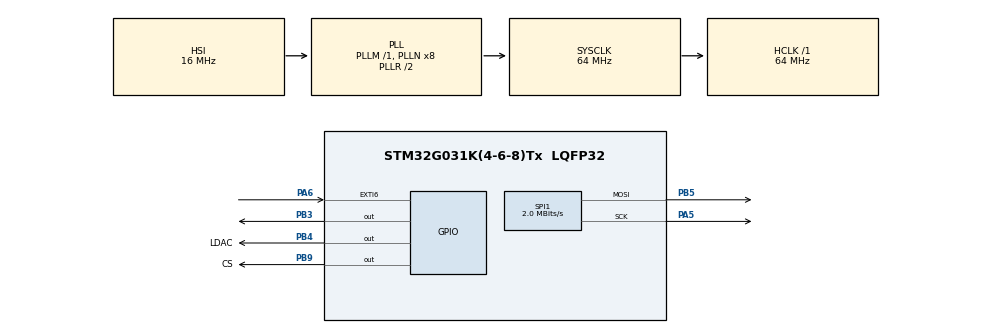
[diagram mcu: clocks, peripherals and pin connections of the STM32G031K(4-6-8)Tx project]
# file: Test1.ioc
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Mcu.Family=STM32G0
Mcu.Name=STM32G031K(4-6-8)Tx
Mcu.Package=LQFP32
NVIC.EXTI4_15_IRQn=true\:0\:0\:false\:false\:true\:true\:true\:true
NVIC.TIM14_IRQn=true\:0\:0\:false\:false\:true\:true\:true\:true
PA13.GPIO_Label=T_JTMS
PA13.Mode=Serial_Wire
PA13.Signal=SYS_SWDIO
PA14-BOOT0.GPIO_Label=T_JTCK
PA14-BOOT0.Mode=Serial_Wire
PA14-BOOT0.Signal=SYS_SWCLK
PA2.GPIO_Label=T_VCP_TX
PA2.GPIO_PuPd=GPIO_PULLUP
PA2.Signal=USART2_TX
PA3.GPIO_Label=T_VCP_RX
PA3.GPIO_PuPd=GPIO_PULLUP
PA3.Signal=USART2_RX
PA5.Mode=TX_Only_Simplex_Unidirect_Master
PA5.Signal=SPI1_SCK
PA6.GPIO_ModeDefaultEXTI=GPIO_MODE_IT_FALLING
PA6.GPIO_PuPd=GPIO_PULLDOWN
PA6.Signal=GPXTI6
PB3.Signal=GPIO_Output
PB4.GPIO_Label=LDAC
PB4.Signal=GPIO_Output
PB5.Mode=TX_Only_Simplex_Unidirect_Master
PB5.Signal=SPI1_MOSI
PB9.GPIO_Label=CS
PB9.Signal=GPIO_Output
ProjectManager.HeapSize=0x200
ProjectManager.StackSize=0x400
ProjectManager.TargetToolchain=STM32CubeIDE
RCC.ADCFreq_Value=64000000
RCC.AHBFreq_Value=64000000
RCC.APB1CLKDivider=RCC_HCLK_DIV2
RCC.CortexFreq_Value=64000000
RCC.EXTERNAL_CLOCK_VALUE=12288000
RCC.HCLKFreq_Value=64000000
RCC.HSE_VALUE=8000000
RCC.HSI_VALUE=16000000
RCC.SYSCLKFreq_VALUE=64000000
RCC.SYSCLKSource=RCC_SYSCLKSOURCE_PLLCLK
RCC.VCOOutputFreq_Value=128000000
SPI1.BaudRatePrescaler=SPI_BAUDRATEPRESCALER_16
SPI1.CalculateBaudRate=2.0 MBits/s
SPI1.DataSize=SPI_DATASIZE_16BIT
SPI1.Direction=SPI_DIRECTION_2LINES
SPI1.Mode=SPI_MODE_MASTER
SPI1.VirtualType=VM_MASTER
TIM14.Period=200
TIM14.Prescaler=8
VP_TIM14_VS_ClockSourceINT.Mode=Enable_Timer
board=NUCLEO-G031K8

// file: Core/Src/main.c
/* USER CODE BEGIN Header */
/**
  ******************************************************************************
  * @file           : main.c
  * @brief          : Main program body
  ******************************************************************************
  * @attention
  *
  * Copyright (c) 2024 STMicroelectronics.
  * All rights reserved.
  *
  * This software is licensed under terms that can be found in the LICENSE file
  * in the root directory of this software component.
  * If no LICENSE file comes with this software, it is provided AS-IS.
  *
  ******************************************************************************
  */
/* USER CODE END Header */
#include "main.h"
#include <math.h>

/* USER CODE BEGIN PD */
#define MCP4901_BUFFER    (1 << 14)
#define MCP4901_GAIN2X    (1 << 13)
#define MCP4901_ACTIVE    (1 << 12)
#define PI 3.14159265
#define TABLE_SIZE 20
/* USER CODE END PD */

SPI_HandleTypeDef hspi1;

TIM_HandleTypeDef htim14;

/* USER CODE BEGIN PV */
uint8_t sine_table[TABLE_SIZE];
/* USER CODE END PV */

void SystemClock_Config(void);
static void MX_GPIO_Init(void);
static void MX_SPI1_Init(void);
static void MX_TIM14_Init(void);
/* USER CODE BEGIN PFP */
void DAC_SetValue(uint8_t value);
void GenerateSineTable();
/* USER CODE END PFP */

/* USER CODE BEGIN 0 */
void GenerateSineTable() {
    for(int i = 0; i < TABLE_SIZE; i++) {
        sine_table[i] = (uint8_t)((sin(2 * PI * i / TABLE_SIZE) + 1) * 127.5); // Scale to 0-255
    }
}

void DAC_SetValue(uint8_t value) {
    uint16_t data = 0;
    data |= MCP4901_BUFFER;
    data |= MCP4901_GAIN2X;
    data |= MCP4901_ACTIVE;
    data |= (value << 4); // Place 8-bit data in bits 11-4

    // Drive the CS pin low (active low)
    HAL_GPIO_WritePin(LDAC_GPIO_Port, CS_Pin, GPIO_PIN_RESET);

    // Transmit data over SPI
    HAL_SPI_Transmit(&hspi1, (uint8_t*)&data, 1, HAL_MAX_DELAY);

    // Then raise CS (causes the data to be latched into the DAC's input register)
    HAL_GPIO_WritePin(LDAC_GPIO_Port, CS_Pin, GPIO_PIN_SET);

    // Activate LDAC (active low, the content of the DAC's input register is transferred into the output register,
    // and V_out is updated)
    HAL_GPIO_WritePin(LDAC_GPIO_Port, LDAC_Pin, GPIO_PIN_RESET);

    // Deactivate LDAC
    HAL_GPIO_WritePin(LDAC_GPIO_Port, LDAC_Pin, GPIO_PIN_SET);
}
/* USER CODE END 0 */

int main(void)
{

  /* MCU Configuration--------------------------------------------------------*/

  /* Reset of all peripherals, Initializes the Flash interface and the Systick. */
  HAL_Init();

  /* USER CODE BEGIN Init */
  HAL_GPIO_WritePin(LDAC_GPIO_Port, LDAC_Pin, GPIO_PIN_SET);
  GenerateSineTable();
  /* USER CODE END Init */

  /* Configure the system clock */
  SystemClock_Config();

  /* Initialize all configured peripherals */
  MX_GPIO_Init();
  MX_SPI1_Init();
  MX_TIM14_Init();
  /* USER CODE BEGIN 2 */
  HAL_TIM_Base_Start_IT(&htim14);
  /* USER CODE END 2 */

  /* Infinite loop */
  while (1)
  {

    /* USER CODE BEGIN 3 */
	  //HAL_GPIO_TogglePin(GPIOA,GPIO_PIN_11);
	/*for(uint8_t i = 0; i < 256; i++) {
		DAC_SetValue(sine_table[i]);    // Set DAC to value 'i'
		// HAL_Delay(1);  			// Delay for visualization
		}*/
	  }
  /* USER CODE END 3 */
}

void SystemClock_Config(void)
{
  RCC_OscInitTypeDef RCC_OscInitStruct = {0};
  RCC_ClkInitTypeDef RCC_ClkInitStruct = {0};

  /** Configure the main internal regulator output voltage
  */
  HAL_PWREx_ControlVoltageScaling(PWR_REGULATOR_VOLTAGE_SCALE1);

  /** Initializes the RCC Oscillators according to the specified parameters
  * in the RCC_OscInitTypeDef structure.
  */
  RCC_OscInitStruct.OscillatorType = RCC_OSCILLATORTYPE_HSI;
  RCC_OscInitStruct.HSIState = RCC_HSI_ON;
  RCC_OscInitStruct.HSIDiv = RCC_HSI_DIV1;
  RCC_OscInitStruct.HSICalibrationValue = RCC_HSICALIBRATION_DEFAULT;
  RCC_OscInitStruct.PLL.PLLState = RCC_PLL_ON;
  RCC_OscInitStruct.PLL.PLLSource = RCC_PLLSOURCE_HSI;
  RCC_OscInitStruct.PLL.PLLM = RCC_PLLM_DIV1;
  RCC_OscInitStruct.PLL.PLLN = 8;
  RCC_OscInitStruct.PLL.PLLP = RCC_PLLP_DIV2;
  RCC_OscInitStruct.PLL.PLLQ = RCC_PLLQ_DIV2;
  RCC_OscInitStruct.PLL.PLLR = RCC_PLLR_DIV2;
  if (HAL_RCC_OscConfig(&RCC_OscInitStruct) != HAL_OK)
  {
    Error_Handler();
  }

  /** Initializes the CPU, AHB and APB buses clocks
  */
  RCC_ClkInitStruct.ClockType = RCC_CLOCKTYPE_HCLK|RCC_CLOCKTYPE_SYSCLK
                              |RCC_CLOCKTYPE_PCLK1;
  RCC_ClkInitStruct.SYSCLKSource = RCC_SYSCLKSOURCE_PLLCLK;
  RCC_ClkInitStruct.AHBCLKDivider = RCC_SYSCLK_DIV1;
  RCC_ClkInitStruct.APB1CLKDivider = RCC_HCLK_DIV2;

  if (HAL_RCC_ClockConfig(&RCC_ClkInitStruct, FLASH_LATENCY_2) != HAL_OK)
  {
    Error_Handler();
  }
}

static void MX_SPI1_Init(void)
{

  /* SPI1 parameter configuration*/
  hspi1.Instance = SPI1;
  hspi1.Init.Mode = SPI_MODE_MASTER;
  hspi1.Init.Direction = SPI_DIRECTION_2LINES;
  hspi1.Init.DataSize = SPI_DATASIZE_16BIT;
  hspi1.Init.CLKPolarity = SPI_POLARITY_LOW;
  hspi1.Init.CLKPhase = SPI_PHASE_1EDGE;
  hspi1.Init.NSS = SPI_NSS_SOFT;
  hspi1.Init.BaudRatePrescaler = SPI_BAUDRATEPRESCALER_16;
  hspi1.Init.FirstBit = SPI_FIRSTBIT_MSB;
  hspi1.Init.TIMode = SPI_TIMODE_DISABLE;
  hspi1.Init.CRCCalculation = SPI_CRCCALCULATION_DISABLE;
  hspi1.Init.CRCPolynomial = 7;
  hspi1.Init.CRCLength = SPI_CRC_LENGTH_DATASIZE;
  hspi1.Init.NSSPMode = SPI_NSS_PULSE_ENABLE;
  if (HAL_SPI_Init(&hspi1) != HAL_OK)
  {
    Error_Handler();
  }

}

static void MX_TIM14_Init(void)
{

  htim14.Instance = TIM14;
  htim14.Init.Prescaler = 8;
  htim14.Init.CounterMode = TIM_COUNTERMODE_UP;
  htim14.Init.Period = 200;
  htim14.Init.ClockDivision = TIM_CLOCKDIVISION_DIV1;
  htim14.Init.AutoReloadPreload = TIM_AUTORELOAD_PRELOAD_DISABLE;
  if (HAL_TIM_Base_Init(&htim14) != HAL_OK)
  {
    Error_Handler();
  }

}

static void MX_GPIO_Init(void)
{
  GPIO_InitTypeDef GPIO_InitStruct = {0};

  /* GPIO Ports Clock Enable */
  __HAL_RCC_GPIOB_CLK_ENABLE();
  __HAL_RCC_GPIOA_CLK_ENABLE();

  /*Configure GPIO pin Output Level */
  HAL_GPIO_WritePin(GPIOB, CS_Pin|GPIO_PIN_3|LDAC_Pin, GPIO_PIN_RESET);

  /*Configure GPIO pins : CS_Pin PB3 LDAC_Pin */
  GPIO_InitStruct.Pin = CS_Pin|GPIO_PIN_3|LDAC_Pin;
  GPIO_InitStruct.Mode = GPIO_MODE_OUTPUT_PP;
  GPIO_InitStruct.Pull = GPIO_NOPULL;
  GPIO_InitStruct.Speed = GPIO_SPEED_FREQ_LOW;
  HAL_GPIO_Init(GPIOB, &GPIO_InitStruct);

  /*Configure GPIO pins : T_VCP_TX_Pin T_VCP_RX_Pin */
  GPIO_InitStruct.Pin = T_VCP_TX_Pin|T_VCP_RX_Pin;
  GPIO_InitStruct.Mode = GPIO_MODE_AF_PP;
  GPIO_InitStruct.Pull = GPIO_PULLUP;
  GPIO_InitStruct.Speed = GPIO_SPEED_FREQ_LOW;
  GPIO_InitStruct.Alternate = GPIO_AF1_USART2;
  HAL_GPIO_Init(GPIOA, &GPIO_InitStruct);

  /*Configure GPIO pin : PA6 */
  GPIO_InitStruct.Pin = GPIO_PIN_6;
  GPIO_InitStruct.Mode = GPIO_MODE_IT_FALLING;
  GPIO_InitStruct.Pull = GPIO_PULLDOWN;
  HAL_GPIO_Init(GPIOA, &GPIO_InitStruct);

  /* EXTI interrupt init*/
  HAL_NVIC_SetPriority(EXTI4_15_IRQn, 0, 0);
  HAL_NVIC_EnableIRQ(EXTI4_15_IRQn);

}

/* USER CODE BEGIN 4 */
//Interrupt for increasing frequency when user push a button. Do exactly the same thing for decreasing it.
void HAL_GPIO_EXTI_Falling_Callback(uint16_t GPIO_Pin){
	if(GPIO_Pin == GPIO_PIN_6){
		HAL_GPIO_TogglePin(GPIOB,GPIO_PIN_3);
		TIM14 -> ARR += 200 ; //adjustable, one idea is to divide the frequency band in n slices.
	}
}

/* USER CODE END 4 */

void Error_Handler(void)
{
  __disable_irq();
  while (1)
  {
  }
}
